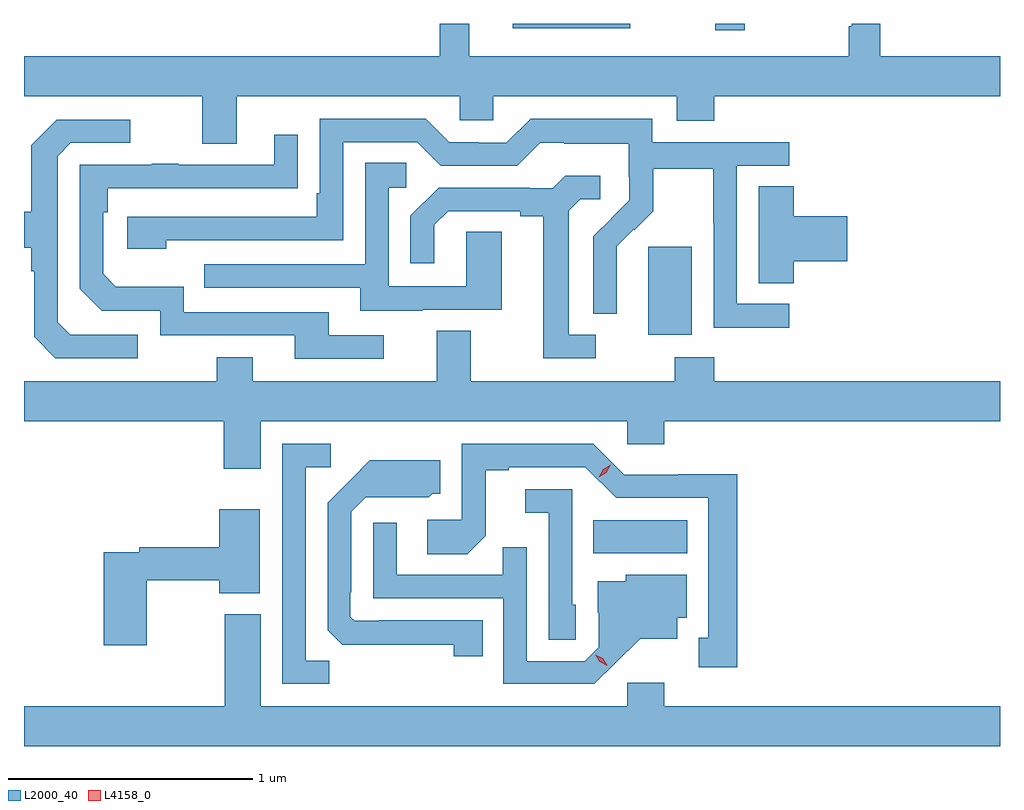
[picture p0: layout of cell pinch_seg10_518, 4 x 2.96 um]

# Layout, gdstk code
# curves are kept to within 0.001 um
import gdstk
lib = gdstk.Library(unit=1e-6, precision=1e-09)
def R(c, l, rs):  # rectangles x0, y0, x1, y1
    for r in rs: c.add(gdstk.rectangle(r[:2], r[2:], *l))
def P(c, l, *ps):  # polygons
    for p in ps: c.add(gdstk.Polygon(p, *l))
L2000_40 = (2000, 40)
L4158_0 = (4158, 0)

pinch_seg10_518 = lib.new_cell('pinch_seg10_518')
R(pinch_seg10_518, L2000_40, [(383.788,1261.148,384.175,1261.282), (384.014,1262.042,384.193,1262.403), (384.288,1263.291,384.409,1263.318), (383.459,1263.299,383.941,1263.318)])
P(pinch_seg10_518, L2000_40, [(383.16,1263.184),(381.456,1263.184),(381.456,1263.02),(382.187,1263.02),(382.187,1262.826),(382.327,1262.826),(382.327,1263.02),(383.241,1263.02),(383.241,1262.922),(383.379,1262.922),(383.379,1263.02),(384.131,1263.02),(384.131,1262.921),(384.284,1262.921),(384.284,1263.02),(385.456,1263.02),(385.456,1263.184),(384.965,1263.184),(384.965,1263.318),(384.848,1263.318),(384.848,1263.308),(384.837,1263.308),(384.837,1263.184),(383.281,1263.184),(383.281,1263.318),(383.16,1263.318)],
  [(384.592,1262.169),(384.378,1262.169),(384.378,1262.736),(384.592,1262.736),(384.592,1262.832),(384.03,1262.832),(384.03,1262.929),(383.533,1262.929),(383.433,1262.829),(383.318,1262.829),(383.318,1262.832),(383.199,1262.832),(383.103,1262.928),(382.668,1262.928),(382.668,1262.623),(382.655,1262.623),(382.655,1262.526),(381.879,1262.526),(381.879,1262.396),(382.04,1262.396),(382.04,1262.43),(382.764,1262.43),(382.764,1262.832),(383.067,1262.832),(383.163,1262.736),(383.478,1262.736),(383.571,1262.829),(383.671,1262.829),(383.671,1262.825),(383.934,1262.825),(383.934,1262.691),(383.936,1262.691),(383.936,1262.594),(383.79,1262.446),(383.79,1262.128),(383.886,1262.128),(383.885,1262.405),(383.955,1262.475),(383.958,1262.472),(384.035,1262.549),(384.035,1262.724),(384.28,1262.724),(384.28,1262.5),(384.282,1262.5),(384.282,1262.071),(384.592,1262.071)],
  [(381.922,1262.043),(381.645,1262.043),(381.594,1262.094),(381.594,1262.775),(381.648,1262.829),(381.892,1262.829),(381.892,1262.925),(381.591,1262.925),(381.486,1262.819),(381.486,1262.547),(381.456,1262.547),(381.456,1262.399),(381.486,1262.399),(381.486,1262.303),(381.498,1262.303),(381.498,1262.034),(381.585,1261.947),(381.922,1261.947)],
  [(382.93,1262.04),(382.705,1262.04),(382.705,1262.136),(382.11,1262.136),(382.11,1262.239),(381.833,1262.239),(381.78,1262.292),(381.78,1262.546),(381.8,1262.546),(381.8,1262.643),(382.577,1262.644),(382.577,1262.863),(382.481,1262.863),(382.481,1262.739),(382.091,1262.739),(382.091,1262.744),(381.979,1262.744),(381.979,1262.739),(381.684,1262.739),(381.684,1262.232),(381.774,1262.142),(382.014,1262.142),(382.014,1262.04),(382.565,1262.04),(382.565,1261.944),(382.93,1261.944)],
  [(383.089,1262.145),(383.413,1262.145),(383.413,1262.465),(383.268,1262.465),(383.268,1262.241),(382.95,1262.241),(382.95,1262.646),(383.023,1262.646),(383.023,1262.747),(382.854,1262.747),(382.854,1262.331),(382.195,1262.331),(382.195,1262.235),(382.835,1262.235),(382.835,1262.141),(383.089,1262.141)],
  [(383.8,1262.043),(383.689,1262.043),(383.689,1262.551),(383.736,1262.598),(383.818,1262.598),(383.818,1262.695),(383.674,1262.695),(383.622,1262.643),(383.528,1262.643),(383.528,1262.646),(383.156,1262.646),(383.04,1262.53),(383.04,1262.337),(383.137,1262.337),(383.137,1262.493),(383.194,1262.55),(383.489,1262.55),(383.489,1262.528),(383.585,1262.528),(383.585,1261.947),(383.8,1261.947)],
  [(384.611,1262.345),(384.829,1262.345),(384.829,1262.528),(384.611,1262.528),(384.611,1262.651),(384.467,1262.651),(384.467,1262.254),(384.611,1262.254)],
  [(382.426,1261.688),(383.928,1261.688),(383.928,1261.595),(384.08,1261.595),(384.08,1261.688),(385.456,1261.688),(385.456,1261.852),(384.284,1261.852),(384.284,1261.951),(384.124,1261.951),(384.124,1261.852),(383.287,1261.852),(383.287,1262.06),(383.147,1262.06),(383.147,1261.852),(382.393,1261.852),(382.393,1261.951),(382.246,1261.951),(382.246,1261.852),(381.456,1261.852),(381.456,1261.688),(382.274,1261.688),(382.274,1261.494),(382.426,1261.494)],
  [(384.379,1261.472),(384.138,1261.472),(384.138,1261.47),(383.916,1261.47),(383.79,1261.596),(383.25,1261.596),(383.25,1261.284),(383.109,1261.284),(383.109,1261.144),(383.273,1261.144),(383.349,1261.22),(383.349,1261.488),(383.443,1261.488),(383.443,1261.5),(383.757,1261.5),(383.883,1261.374),(384.26,1261.374),(384.26,1260.801),(384.221,1260.801),(384.221,1260.681),(384.379,1260.681)],
  [(382.707,1260.707),(382.611,1260.707),(382.611,1261.5),(382.714,1261.5),(382.714,1261.596),(382.515,1261.596),(382.515,1260.612),(382.707,1260.612)],
  [(383.336,1260.873),(382.912,1260.873),(382.912,1260.87),(382.812,1260.87),(382.794,1260.888),(382.794,1260.988),(382.797,1260.988),(382.797,1261.317),(382.857,1261.377),(383.114,1261.376),(383.13,1261.392),(383.161,1261.392),(383.161,1261.528),(382.873,1261.528),(382.701,1261.354),(382.701,1260.832),(382.76,1260.773),(383.218,1260.772),(383.218,1260.726),(383.336,1260.726)],
  [(383.718,1260.936),(383.703,1260.936),(383.703,1261.41),(383.511,1261.41),(383.511,1261.313),(383.607,1261.313),(383.607,1260.793),(383.718,1260.793)],
  [(381.96,1261.036),(382.256,1261.036),(382.256,1260.983),(382.423,1260.983),(382.423,1261.327),(382.256,1261.327),(382.256,1261.172),(381.928,1261.172),(381.928,1261.152),(381.782,1261.152),(381.782,1260.771),(381.96,1260.771)],
  [(383.878,1260.695),(383.981,1260.797),(384.133,1260.797),(384.133,1260.884),(384.172,1260.884),(384.172,1261.06),(383.922,1261.06),(383.922,1261.033),(383.807,1261.033),(383.807,1260.904),(383.811,1260.904),(383.811,1260.762),(383.754,1260.705),(383.517,1260.705),(383.517,1261.172),(383.419,1261.172),(383.419,1261.059),(382.983,1261.059),(382.983,1261.273),(382.887,1261.273),(382.887,1260.963),(383.421,1260.963),(383.421,1260.612),(383.794,1260.612)],
  [(385.456,1260.52),(384.08,1260.52),(384.08,1260.616),(383.928,1260.616),(383.928,1260.52),(382.426,1260.52),(382.426,1260.898),(382.279,1260.898),(382.279,1260.52),(381.456,1260.52),(381.456,1260.356),(385.456,1260.356)])
P(pinch_seg10_518, L4158_0, [(383.811,1261.459),(383.811,1261.459),(383.829,1261.492),(383.86,1261.511),(383.861,1261.511),(383.861,1261.511),(383.843,1261.478),(383.811,1261.459)],
  [(383.846,1260.687),(383.815,1260.702),(383.797,1260.732),(383.797,1260.732),(383.798,1260.732),(383.828,1260.717),(383.846,1260.688),(383.846,1260.687)])

lib.write_gds('pinch_seg10_518.gds')
